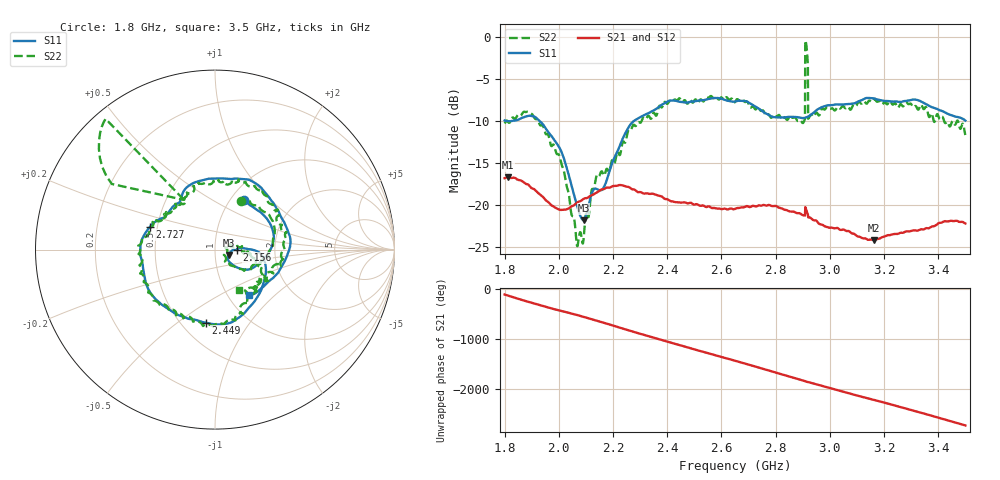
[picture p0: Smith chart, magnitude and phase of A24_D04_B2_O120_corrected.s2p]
! Created with skrf 1.9.0 (http://scikit-rf.org).
# Hz S RI R 50.0
!freq ReS11 ImS11 ReS21 ImS21 ReS12 ImS12 ReS22 ImS22
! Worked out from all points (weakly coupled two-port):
!   1601 points, 1.8 GHz to 3.5 GHz, reference 50 ohm
!   highest |S21| = -16.68 dB at 1.812 GHz (marker M1); lowest = -24.1 dB at 3.162 GHz (marker M2)
!   lowest |S11| = -21.8 dB at 2.091 GHz (marker M3), VSWR 1.18, Z = 58.1 - j3.45 ohm
!   |S11| at or under -10 dB: 1.808 GHz to 1.826 GHz (18.67 MHz wide, 1.03 % of centre); 1.93 GHz to 2.277 GHz (346.9 MHz wide, 16.5 % of centre)
!   |S22| runs from -24.8 to -0.4 dB; largest |S21 - S12| = 0.0024
!   S11 on the Smith chart (normalised r, x): 1.8 GHz: 1.15, +0.71; 2.156 GHz: 1.28, -0.00; 2.449 GHz: 0.65, -0.64; 2.727 GHz: 0.46, +0.14; 3.5 GHz: 1.25, -0.71
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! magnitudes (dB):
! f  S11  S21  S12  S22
! 1.8 GHz  -9.9  -16.8  -16.8  -10.3
! 1.812 GHz  -10.0  -16.7  -16.7  -10.0
! 1.883 GHz  -9.4  -17.5  -17.5  -8.9
! 1.941 GHz  -10.4  -19.0  -19.0  -10.5
! 2.01 GHz  -13.7  -20.5  -20.5  -15.2
! 2.066 GHz  -19.9  -19.7  -19.7  -24.5
! 2.084 GHz  -21.5  -19.4  -19.4  -23.7
! 2.091 GHz  -21.8  -19.2  -19.3  -24.1
! 2.156 GHz  -18.2  -18.1  -18.1  -16.0
! 2.262 GHz  -10.5  -17.9  -17.9  -11.1
! 2.367 GHz  -8.4  -18.8  -18.8  -8.5
! 2.449 GHz  -7.7  -19.7  -19.6  -7.4
! 2.65 GHz  -7.7  -20.4  -20.4  -7.8
! 2.727 GHz  -8.3  -20.1  -20.1  -8.6
! 2.9 GHz  -9.7  -21.2  -21.2  -10.2
! 2.91 GHz  -9.6  -20.3  -20.3  -0.5
! 2.918 GHz  -9.5  -21.0  -21.0  -2.7
! 2.928 GHz  -9.3  -21.5  -21.5  -9.3
! 2.934 GHz  -9.2  -21.6  -21.6  -9.3
! 3.162 GHz  -7.3  -24.1  -24.0  -7.5
! 3.217 GHz  -7.6  -23.5  -23.5  -7.8
! 3.5 GHz  -10.0  -22.2  -22.1  -11.7
